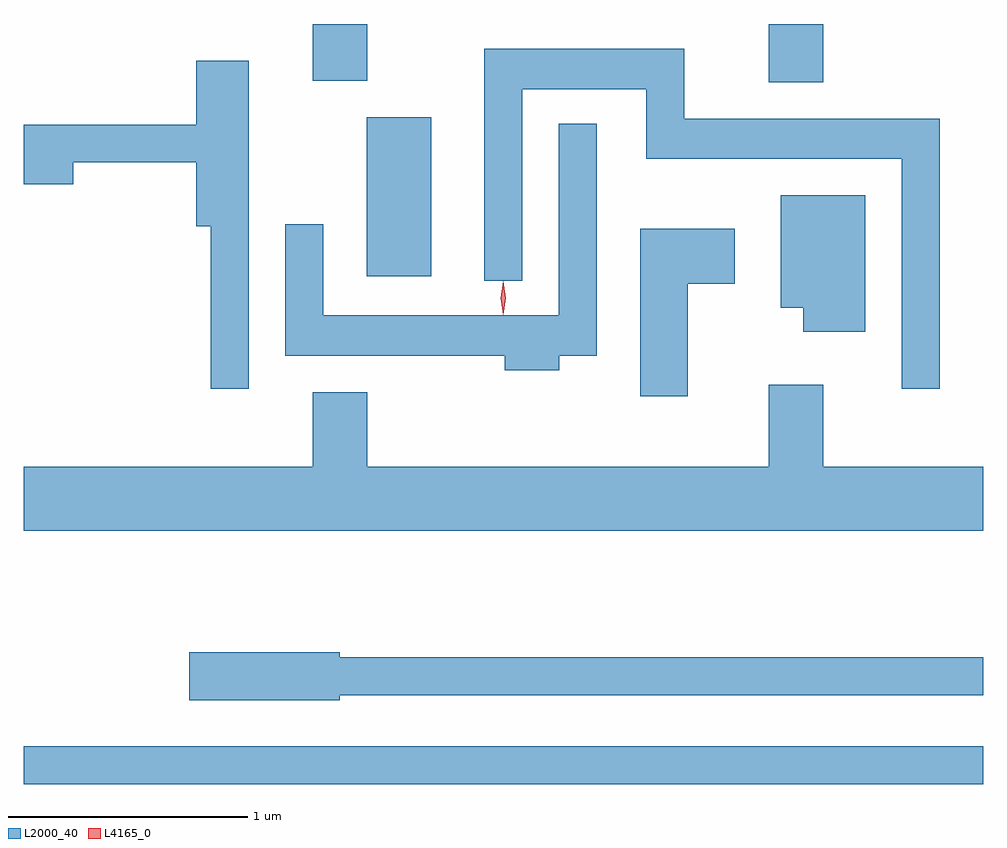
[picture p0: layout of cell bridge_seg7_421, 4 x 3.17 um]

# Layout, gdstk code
import gdstk
lib = gdstk.Library(unit=1e-6, precision=1e-09)
def R(c, l, rs):  # rectangles x0, y0, x1, y1
    for r in rs: c.add(gdstk.rectangle(r[:2], r[2:], *l))
def P(c, l, *ps):  # polygons
    for p in ps: c.add(gdstk.Polygon(p, *l))
L2000_40 = (2000, 40)
L4165_0 = (4165, 0)

bridge_seg7_421 = lib.new_cell('bridge_seg7_421')
R(bridge_seg7_421, L2000_40, [(1149.566,1715.481,1153.566,1715.639), (1150.996,1717.596,1151.264,1718.259), (1152.671,1718.406,1152.899,1718.648), (1150.771,1718.411,1150.999,1718.648)])
P(bridge_seg7_421, L2000_40, [(1153.384,1718.254),(1152.319,1718.254),(1152.319,1718.544),(1151.486,1718.544),(1151.486,1717.578),(1151.644,1717.578),(1151.644,1718.376),(1152.161,1718.376),(1152.161,1718.086),(1153.226,1718.086),(1153.226,1717.128),(1153.384,1717.128)],
  [(1150.504,1718.494),(1150.286,1718.494),(1150.286,1718.229),(1149.566,1718.229),(1149.566,1717.981),(1149.774,1717.981),(1149.774,1718.071),(1150.286,1718.071),(1150.286,1717.806),(1150.346,1717.806),(1150.346,1717.128),(1150.504,1717.128)],
  [(1151.799,1717.266),(1151.954,1717.266),(1151.954,1718.233),(1151.796,1718.233),(1151.796,1717.434),(1150.814,1717.434),(1150.814,1717.813),(1150.656,1717.813),(1150.656,1717.266),(1151.571,1717.266),(1151.571,1717.206),(1151.799,1717.206)],
  [(1153.074,1717.934),(1152.721,1717.934),(1152.721,1717.466),(1152.816,1717.466),(1152.816,1717.366),(1153.074,1717.366)],
  [(1152.334,1717.566),(1152.529,1717.566),(1152.529,1717.794),(1152.136,1717.794),(1152.136,1717.096),(1152.334,1717.096)],
  [(1153.566,1716.804),(1152.899,1716.804),(1152.899,1717.144),(1152.671,1717.144),(1152.671,1716.804),(1150.999,1716.804),(1150.999,1717.114),(1150.771,1717.114),(1150.771,1716.804),(1149.566,1716.804),(1149.566,1716.536),(1153.566,1716.536)],
  [(1150.884,1715.851),(1153.566,1715.851),(1153.566,1716.009),(1150.884,1716.009),(1150.884,1716.029),(1150.256,1716.029),(1150.256,1715.831),(1150.884,1715.831)])
P(bridge_seg7_421, L4165_0, [(1151.564,1717.437),(1151.555,1717.506),(1151.564,1717.576),(1151.565,1717.576),(1151.565,1717.576),(1151.575,1717.506),(1151.565,1717.437),(1151.565,1717.437)],
  [(1151.564,1717.439),(1151.564,1717.44),(1151.554,1717.506),(1151.564,1717.572),(1151.564,1717.573),(1151.565,1717.572),(1151.574,1717.506),(1151.565,1717.44)])

lib.write_gds('bridge_seg7_421.gds')
